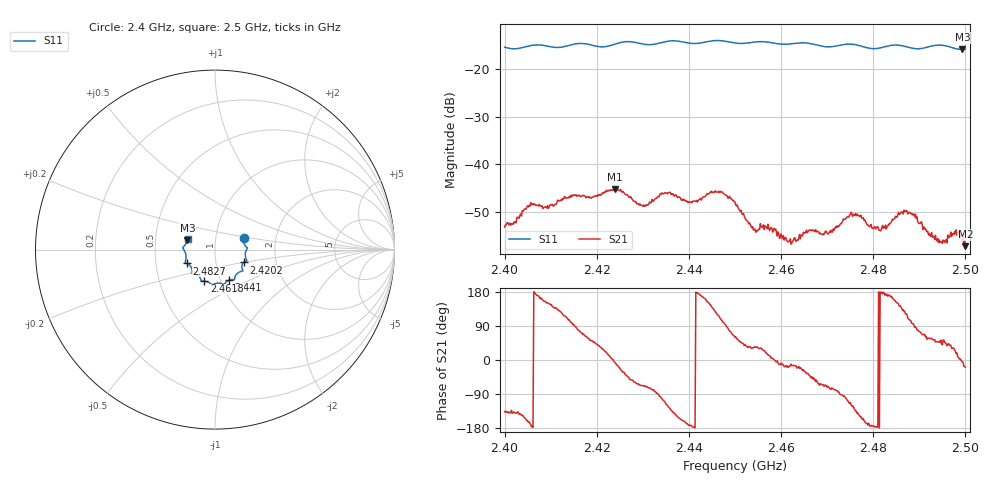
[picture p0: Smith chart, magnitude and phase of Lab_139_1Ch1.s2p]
# Hz S RI R 50
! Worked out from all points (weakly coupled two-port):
!   601 points, 2.4 GHz to 2.5 GHz, reference 50 ohm
!   highest |S21| = -45.27 dB at 2.424 GHz (marker M1); lowest = -57.3 dB at 2.5 GHz (marker M2)
!   lowest |S11| = -15.8 dB at 2.4993 GHz (marker M3), VSWR 1.39, Z = 36.5 + j3.81 ohm
!   |S11| at or under -10 dB: start of sweep to end of sweep
!   S12 and S22 are empty: the file has one direction only
!   S11 on the Smith chart (normalised r, x): 2.4 GHz: 1.36, +0.18; 2.4202 GHz: 1.36, -0.20; 2.441 GHz: 1.10, -0.39; 2.4618 GHz: 0.84, -0.30; 2.4827 GHz: 0.72, -0.11; 2.5 GHz: 0.73, +0.09
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2.4e9  0.1589 0.0629  -0.00156 -0.00151  0 0  0 0
2.405833e9  0.1783 0.0113  -0.00375 -0.000263  0 0  0 0
2.416667e9  0.1774 -0.0609  0.00149 0.00438  0 0  0 0
2.420167e9  0.1589 -0.0716  0.00348 0.00298  0 0  0 0
2.424e9  0.1511 -0.1068  0.00541 -0.000718  0 0  0 0
2.43e9  0.1367 -0.1245  0.00136 -0.00333  0 0  0 0
2.433333e9  0.112 -0.1509  -5.38e-05 -0.00457  0 0  0 0
2.441e9  0.0787 -0.1698  -0.0041 -0.00023  0 0  0 0
2.446167e9  0.0496 -0.1955  -0.00248 0.00443  0 0  0 0
2.45e9  0.0288 -0.1874  0.002 0.00345  0 0  0 0
2.454167e9  -0.00829 -0.1936  0.0017 0.00113  0 0  0 0
2.4575e9  -0.0225 -0.1911  0.00196 0.000403  0 0  0 0
2.461833e9  -0.0589 -0.1757  0.00151 -0.000438  0 0  0 0
2.466667e9  -0.0789 -0.1683  0.00144 -0.00141  0 0  0 0
2.470667e9  -0.1007 -0.1402  0.000444 -0.00186  0 0  0 0
2.475667e9  -0.1276 -0.1321  -0.00156 -0.00251  0 0  0 0
2.482667e9  -0.156 -0.0771  -0.00227 0.000223  0 0  0 0
2.483333e9  -0.1604 -0.075  -0.00231 0.000341  0 0  0 0
2.487167e9  -0.1631 -0.0586  -0.00173 0.00277  0 0  0 0
2.494333e9  -0.1798 0.0104  0.00104 0.00121  0 0  0 0
2.499333e9  -0.1541 0.0508  0.00181 -0.000143  0 0  0 0
2.5e9  -0.1524 0.0601  0.0013 -0.000436  0 0  0 0
